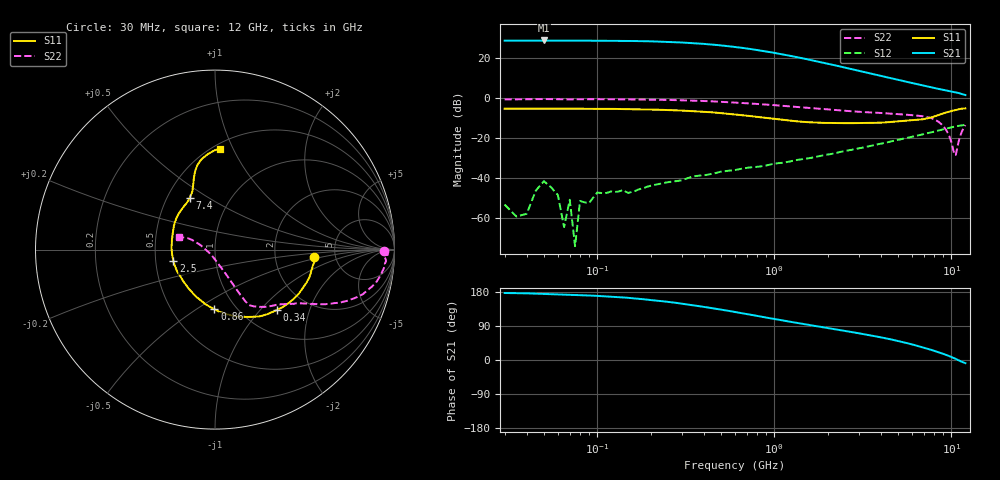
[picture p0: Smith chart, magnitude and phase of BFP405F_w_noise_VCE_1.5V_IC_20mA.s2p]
! Infineon Technologies  Discrete & RF Semiconductors
! BFP405F
! VCE =  1.5 V,  IC =  20 mA
! Common Emitter S-Parameters:  Nov 2015
# GHz  S  MA  R  50
!  f  S11  S21  S12  S22
! GHz  MAG  ANG  MAG  ANG  MAG  ANG  MAG  ANG
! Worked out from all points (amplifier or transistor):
!   239 points, 30 MHz to 12 GHz, reference 50 ohm
!   highest |S21| = 29.0 dB at 50 MHz (marker M1)
!   |S21| within 3 dB of that: start of sweep to 566 MHz
!   unconditionally stable (mu >= 1): 36.99 MHz to 40.51 MHz; 64.38 MHz to 66.06 MHz; 1.412 GHz to end of sweep (the widest 3 of 4)
!   at 300 MHz: K = 0.39, MSG = 34.5 dB, |S12| = -41.0 dB
!   at 1.88 GHz: K = 1.16, MAG = 20.8 dB, |S12| = -28.5 dB
!   at 12 GHz: K = 1.44, MAG = 3.5 dB, |S12| = -13.2 dB
!   lowest NFmin = 2.24 dB at 450 MHz
!   S11 on the Smith chart (normalised r, x): 30 MHz: 3.44, -0.40; 340 MHz: 1.41, -1.24; 860 MHz: 0.80, -0.60; 2.5 GHz: 0.62, -0.09; 7.4 GHz: 0.65, +0.41; 12 GHz: 0.54, +0.90
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0.03  0.5544 -4.2  27.94 176.8  0.0022 162.7  0.9438 -0.4
0.04  0.5562 -5.7  28.03 175.9  0.0013 52.9  0.9514 -1.1
0.05  0.5565 -7.5  28.22 174.4  0.0085 65.8  0.9636 -1.7
0.06  0.5549 -8.4  28.01 173.4  0.0038 99.6  0.9531 -1.8
0.065  0.5533 -8.9  27.99 172.7  0.0006 134.1  0.9497 -2.1
0.07  0.5517 -9.4  27.98 172.0  0.0029 -93.8  0.9464 -2.4
0.075  0.5514 -10.3  27.91 171.5  0.0002 -37.6  0.9499 -2.9
0.08  0.5512 -11.2  27.84 171.0  0.0027 79.2  0.9534 -3.3
0.085  0.5504 -11.8  27.88 170.6  0.0025 86.2  0.9543 -3.6
0.15  0.5387 -21.4  27.44 164.0  0.0043 66.1  0.943 -7.0
0.24  0.5154 -32.7  26.1 154.5  0.0077 75.3  0.9195 -11.0
0.34  0.4814 -44.4  24.29 145.3  0.0108 75.1  0.882 -14.7
0.45  0.4475 -56.3  22.19 136.4  0.013 72.6  0.8418 -18.0
0.6  0.398 -70.6  19.39 126.5  0.0161 69.5  0.7859 -21.4
0.86  0.3328 -90.5  15.47 113.8  0.0203 68.2  0.711 -25.1
1.2  0.2819 -112.3  11.89 101.8  0.0257 67.7  0.6375 -28.4
1.64  0.2504 -134.2  8.97 91.3  0.033 68.0  0.5721 -31.6
2.5  0.241 -164.3  5.91 76.8  0.0479 67.3  0.4898 -38.4
4.5  0.2565 155.9  3.23 55.0  0.0827 61.4  0.4198 -49.6
7.4  0.3193 116.4  1.963 29.0  0.1354 48.6  0.3367 -59.5
10.4  0.5039 99.1  1.443 4.6  0.1968 31.7  0.0383 -115.2
12  0.5633 86.9  1.211 -8.3  0.2183 22.4  0.2148 160.5
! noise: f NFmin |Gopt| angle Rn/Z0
0.45  2.24  0.02  -18  0.47
0.9  2.25  0.01  -90  0.3
1.5  2.31  0.03  -114  0.38
1.9  2.38  0.04  -120  0.52
2.4  2.53  0.05  -120  0.18
3  2.62  0.07  -120  0.16
3.5  2.7  0.09  -118  0.22
4.5  2.94  0.14  -105  0.5
5.5  3.27  0.24  -88  0.52
